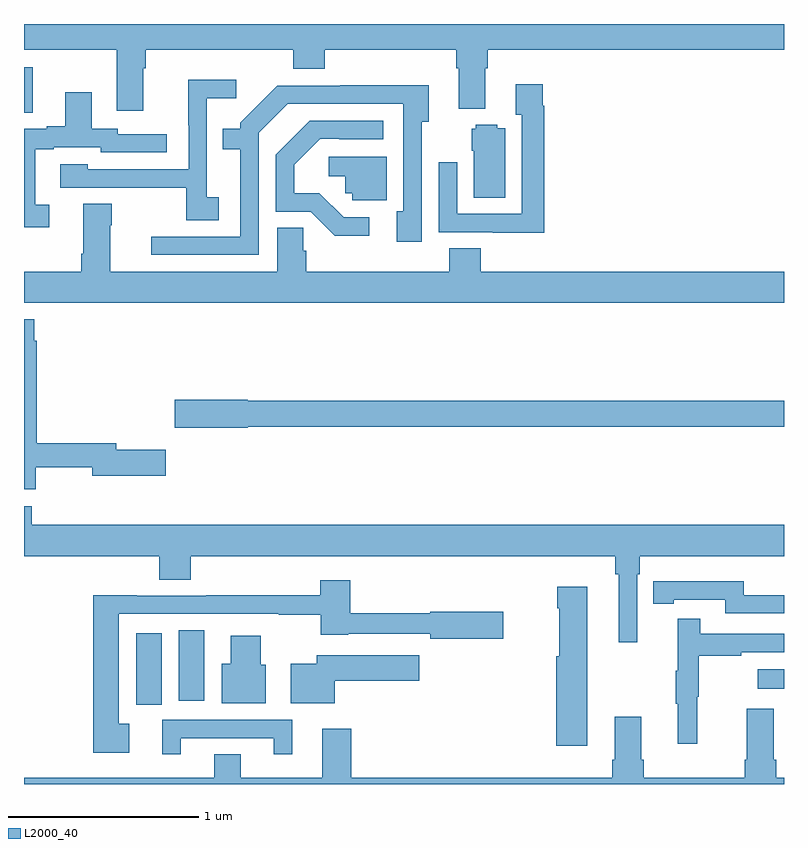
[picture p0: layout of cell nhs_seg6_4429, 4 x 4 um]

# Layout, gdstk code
import gdstk
lib = gdstk.Library(unit=1e-6, precision=1e-09)
def R(c, l, rs):  # rectangles x0, y0, x1, y1
    for r in rs: c.add(gdstk.rectangle(r[:2], r[2:], *l))
def P(c, l, *ps):  # polygons
    for p in ps: c.add(gdstk.Polygon(p, *l))
L2000_40 = (2000, 40)

nhs_seg6_4429 = lib.new_cell('nhs_seg6_4429')
R(nhs_seg6_4429, L2000_40, [(373.592,915.918,373.726,916.294), (373.814,915.939,373.948,916.31), (376.863,916.001,377,916.105), (373,919.033,373.045,919.272)])
P(nhs_seg6_4429, L2000_40, [(373.627,919.268),(373.64,919.268),(373.64,919.364),(374.417,919.364),(374.417,919.265),(374.582,919.265),(374.582,919.364),(375.275,919.364),(375.275,919.268),(375.287,919.268),(375.287,919.055),(375.427,919.055),(375.427,919.268),(375.44,919.268),(375.44,919.364),(377,919.364),(377,919.5),(373,919.5),(373,919.364),(373.487,919.364),(373.487,919.044),(373.627,919.044)],
  [(374.026,918.588),(373.962,918.588),(373.962,919.109),(374.116,919.109),(374.116,919.207),(373.864,919.207),(373.864,918.968),(373.866,918.968),(373.866,918.735),(373.335,918.735),(373.335,918.763),(373.191,918.763),(373.191,918.639),(373.549,918.639),(373.549,918.637),(373.854,918.637),(373.854,918.466),(374.026,918.466)],
  [(375.737,919.07),(375.73,919.07),(375.73,919.183),(375.587,919.183),(375.587,919.022),(375.621,919.022),(375.621,918.501),(375.279,918.501),(375.279,918.772),(375.183,918.772),(375.183,918.405),(375.467,918.405),(375.467,918.401),(375.737,918.401)],
  [(374.235,918.927),(374.388,919.08),(374.997,919.08),(374.997,918.514),(374.963,918.514),(374.963,918.354),(375.093,918.354),(375.093,918.986),(375.13,918.986),(375.13,919.178),(374.665,919.178),(374.665,919.176),(374.334,919.176),(374.139,918.981),(374.139,918.949),(374.047,918.949),(374.047,918.84),(374.138,918.84),(374.138,918.381),(373.671,918.381),(373.671,918.285),(374.235,918.285)],
  [(373.132,918.549),(373.06,918.549),(373.06,918.84),(373.156,918.84),(373.156,918.852),(373.404,918.852),(373.404,918.825),(373.75,918.825),(373.75,918.921),(373.494,918.921),(373.494,918.948),(373.357,918.948),(373.357,919.141),(373.217,919.141),(373.217,918.961),(373.121,918.961),(373.121,918.948),(373,918.948),(373,918.429),(373.132,918.429)],
  [(374.818,918.483),(374.682,918.483),(374.555,918.61),(374.422,918.61),(374.422,918.76),(374.559,918.897),(374.659,918.897),(374.659,918.894),(374.89,918.894),(374.89,918.99),(374.504,918.99),(374.325,918.811),(374.325,918.513),(374.508,918.513),(374.636,918.386),(374.818,918.386)],
  [(375.532,918.952),(375.492,918.952),(375.492,918.97),(375.378,918.97),(375.378,918.948),(375.356,918.948),(375.356,918.834),(375.368,918.834),(375.368,918.586),(375.532,918.586)],
  [(374.908,918.801),(374.604,918.801),(374.604,918.698),(374.691,918.698),(374.691,918.609),(374.727,918.609),(374.727,918.573),(374.908,918.573)],
  [(377,918.196),(375.404,918.196),(375.404,918.32),(375.239,918.32),(375.239,918.196),(374.486,918.196),(374.486,918.306),(374.471,918.306),(374.471,918.428),(374.333,918.428),(374.333,918.196),(373.453,918.196),(373.453,918.44),(373.461,918.44),(373.461,918.553),(373.313,918.553),(373.313,918.292),(373.301,918.292),(373.301,918.196),(373,918.196),(373,918.032),(377,918.032)],
  [(373.062,917.166),(373.358,917.166),(373.358,917.123),(373.747,917.123),(373.747,917.258),(373.486,917.258),(373.486,917.294),(373.067,917.294),(373.067,917.834),(373.054,917.834),(373.054,917.947),(373,917.947),(373,917.051),(373.062,917.051)],
  [(374.178,917.38),(377,917.38),(377,917.516),(374.178,917.516),(374.178,917.522),(373.794,917.522),(373.794,917.375),(374.178,917.375)],
  [(376.227,916.604),(376.241,916.604),(376.241,916.7),(377,916.7),(377,916.864),(373.04,916.864),(373.04,916.963),(373,916.963),(373,916.7),(373.712,916.7),(373.712,916.576),(373.877,916.576),(373.877,916.7),(376.111,916.7),(376.111,916.604),(376.13,916.604),(376.13,916.245),(376.227,916.245)],
  [(373.555,915.818),(373.498,915.818),(373.498,916.395),(374.341,916.395),(374.341,916.39),(374.563,916.39),(374.563,916.286),(374.706,916.286),(374.706,916.29),(375.138,916.29),(375.138,916.265),(375.523,916.265),(375.523,916.407),(375.138,916.407),(375.138,916.399),(374.718,916.399),(374.718,916.573),(374.558,916.573),(374.558,916.493),(373.96,916.493),(373.96,916.491),(373.594,916.491),(373.594,916.493),(373.364,916.493),(373.364,915.665),(373.555,915.665)],
  [(377,916.494),(376.788,916.494),(376.788,916.567),(376.42,916.567),(376.42,916.566),(376.312,916.566),(376.312,916.45),(376.42,916.45),(376.42,916.47),(376.692,916.47),(376.692,916.398),(377,916.398)],
  [(375.964,916.537),(375.806,916.537),(375.806,916.424),(375.818,916.424),(375.818,916.173),(375.8,916.173),(375.8,915.702),(375.964,915.702)],
  [(376.544,915.96),(376.552,915.96),(376.552,916.174),(376.775,916.174),(376.775,916.194),(377,916.194),(377,916.29),(376.559,916.29),(376.559,916.369),(376.442,916.369),(376.442,916.097),(376.431,916.097),(376.431,915.923),(376.442,915.923),(376.442,915.711),(376.544,915.711)],
  [(374.272,916.128),(374.245,916.128),(374.245,916.279),(374.087,916.279),(374.087,916.132),(374.042,916.132),(374.042,915.926),(374.272,915.926)],
  [(374.635,916.043),(375.079,916.043),(375.079,916.177),(374.541,916.177),(374.541,916.132),(374.405,916.132),(374.405,915.926),(374.635,915.926)],
  [(374.14,915.656),(374,915.656),(374,915.532),(373,915.532),(373,915.5),(377,915.5),(377,915.532),(376.958,915.532),(376.958,915.628),(376.945,915.628),(376.945,915.895),(376.805,915.895),(376.805,915.628),(376.793,915.628),(376.793,915.532),(376.262,915.532),(376.262,915.628),(376.249,915.628),(376.249,915.853),(376.109,915.853),(376.109,915.628),(376.097,915.628),(376.097,915.532),(374.723,915.532),(374.723,915.79),(374.57,915.79),(374.57,915.532),(374.14,915.532)],
  [(373.825,915.741),(374.315,915.741),(374.315,915.657),(374.413,915.657),(374.413,915.837),(373.727,915.837),(373.727,915.657),(373.825,915.657)])

lib.write_gds('nhs_seg6_4429.gds')
